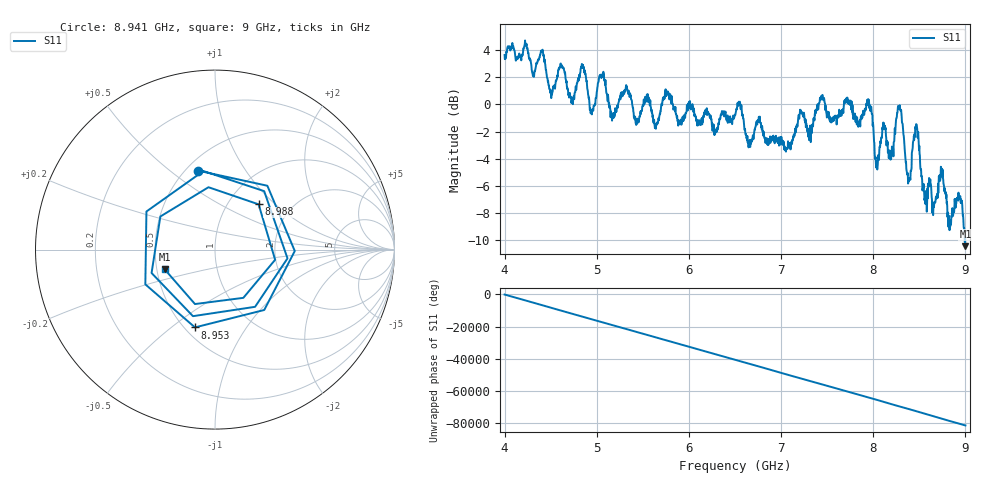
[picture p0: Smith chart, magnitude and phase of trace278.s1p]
! Created with skrf 1.8.0 (http://scikit-rf.org).
# Hz S RI R 50.0
!freq ReS11 ImS11
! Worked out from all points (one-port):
!   1601 points, 4 GHz to 9 GHz, reference 50 ohm
!   lowest |S11| = -10.4 dB at 9 GHz (marker M1), VSWR 1.86, Z = 27.5 - j6.69 ohm
!   |S11| at or under -10 dB: 8.993507 GHz to 8.995174 GHz (1.667 MHz wide, 0.0185 % of centre); 8.997922 GHz to end of sweep
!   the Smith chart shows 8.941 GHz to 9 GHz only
!   S11 on the Smith chart (normalised r, x): 8.941 GHz: 0.57, +0.63; 8.953 GHz: 0.56, -0.61; 8.988 GHz: 1.38, +0.79; 9 GHz: 0.55, -0.13
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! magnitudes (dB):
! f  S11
! 4 GHz  3.6
! 4.409 GHz  4.0
! 4.506 GHz  0.5
! 4.625 GHz  2.8
! 4.731 GHz  0.1
! 4.847 GHz  2.7
! 4.947 GHz  -0.7
! 5.053 GHz  2.1
! 5.172 GHz  -0.9
! 5.25 GHz  0.4
! 5.875 GHz  -1.1
! 6.5 GHz  -0.8
! 7.125 GHz  -2.6
! 7.444 GHz  0.4
! 7.75 GHz  0.3
! 7.959 GHz  -0.3
! 8.041 GHz  -4.6
! 8.112 GHz  -1.5
! 8.194 GHz  -4.0
! 8.284 GHz  -0.2
! 8.375 GHz  -5.1
! 8.466 GHz  -1.4
! 8.559 GHz  -6.9
! 8.831 GHz  -8.9
! 8.941 GHz  -6.9
! 8.953 GHz  -7.0
! 8.988 GHz  -9.1
! 9 GHz  -10.4
